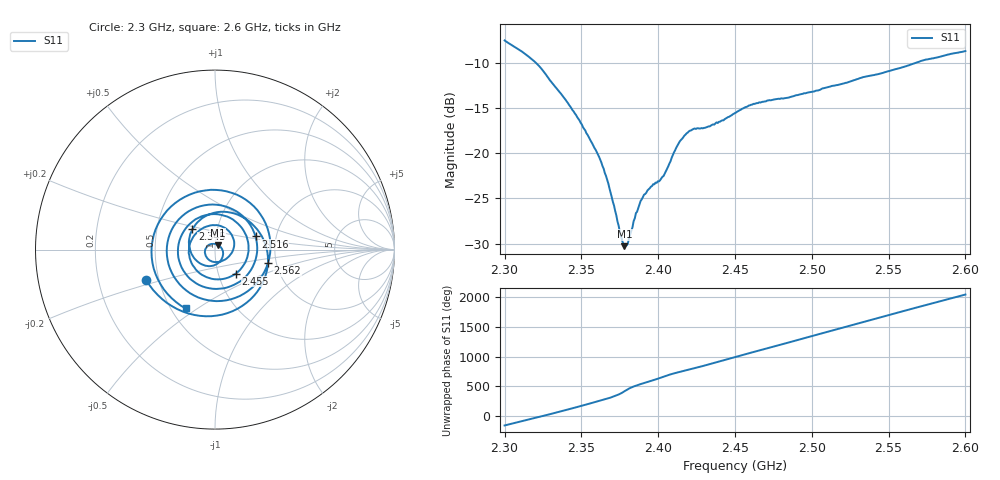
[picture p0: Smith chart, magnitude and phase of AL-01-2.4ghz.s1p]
! NanoVNA-App
! Date: 2026-05-22 19:01:15
! Start: 2.3GHz Stop: 2.6GHz Points: 401
! S-Parameter data: F S11
# Hz S RI R 50
!  Frequency  S11_Real  S11_Imag
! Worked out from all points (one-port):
!   401 points, 2.3 GHz to 2.6 GHz, reference 50 ohm
!   lowest |S11| = -30.3 dB at 2.378 GHz (marker M1), VSWR 1.06, Z = 51.6 + j2.68 ohm
!   |S11| at or under -10 dB: 2.32 GHz to 2.568 GHz (247.8 MHz wide, 10.1 % of centre)
!   S11 on the Smith chart (normalised r, x): 2.3 GHz: 0.42, -0.17; 2.345 GHz: 0.76, +0.18; 2.455 GHz: 1.21, -0.33; 2.516 GHz: 1.56, +0.24; 2.562 GHz: 1.81, -0.30; 2.6 GHz: 0.59, -0.45
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2.3e9  -0.3849 -0.1671
2.30975e9  -0.0203 -0.3711
2.32025e9  0.2826 -0.1416
2.33e9  0.2019 0.1475
2.3375e9  0.0108 0.2083
2.345e9  -0.1258 0.1138
2.35925e9  -0.0536 -0.0896
2.375e9  0.0358 0.0084
2.378e9  0.0161 0.026
2.39225e9  -0.0536 -0.0279
2.4125e9  0.107 0.0259
2.42525e9  -0.0131 0.1365
2.4365e9  -0.1435 0.00824
2.45e9  0.0127 -0.1658
2.45525e9  0.1157 -0.1334
2.46425e9  0.1845 0.041
2.474e9  0.0326 0.1939
2.4875e9  -0.2055 0.013
2.50175e9  0.0282 -0.2176
2.516e9  0.226 0.0736
2.525e9  0.0341 0.2465
2.54075e9  -0.264 -0.0585
2.552e9  0.00882 -0.2872
2.5625e9  0.2953 -0.0759
2.57e9  0.2532 0.196
2.579e9  -0.0529 0.3296
2.5895e9  -0.3478 0.0509
2.6e9  -0.1632 -0.3281
